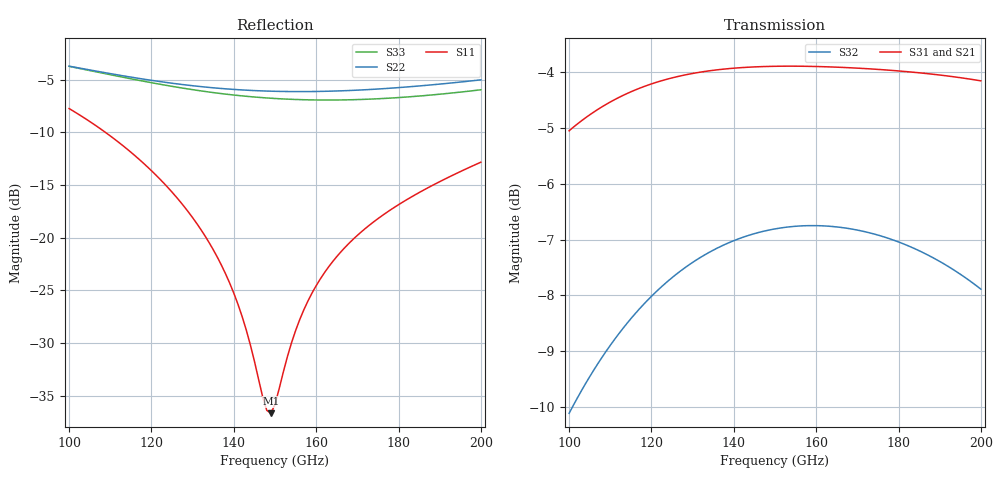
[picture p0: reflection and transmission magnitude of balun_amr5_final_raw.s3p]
#  GHZ S DB R 50.0
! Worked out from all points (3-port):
!   101 points, 100 GHz to 200 GHz, reference 50 ohm
!   strongest paths, dB at 100 GHz, 125 GHz, 150 GHz, 175 GHz, 200 GHz:
!     S31: -5.1, -4.1, -3.9, -4.0, -4.2
!     S21: -4.8, -4.0, -4.0, -4.2, -4.6
!     S32: -10.1, -7.7, -6.8, -6.9, -7.9
!   lowest |S11| = -36.7 dB at 149 GHz (marker M1), VSWR 1.03, Z = 51.3 - j0.72 ohm
!   |S11| at or under -10 dB: 108.8 GHz to end of sweep
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100  -7.74 125.2  -4.84 -11.7  -5.05 164.9
     -4.84 -11.7  -3.71 59.2  -10.11 90.2
     -5.05 164.9  -10.11 90.2  -3.73 50.0
118  -12.91 97.0  -4.16 -39.4  -4.26 135.7
     -4.16 -39.4  -4.94 43.3  -8.17 63.7
     -4.26 135.7  -8.17 63.7  -5.14 31.7
132  -19.22 76.1  -3.97 -59.2  -4.00 114.8
     -3.97 -59.2  -5.65 33.0  -7.31 44.5
     -4.00 114.8  -7.31 44.5  -6.06 20.0
140  -25.27 60.0  -3.95 -69.8  -3.93 103.6
     -3.95 -69.8  -5.92 27.5  -7.02 34.1
     -3.93 103.6  -7.02 34.1  -6.45 13.9
149  -36.67 -28.6  -3.97 -81.4  -3.90 91.3
     -3.97 -81.4  -6.09 21.5  -6.82 22.7
     -3.90 91.3  -6.82 22.7  -6.76 7.4
150  -35.82 -49.1  -3.97 -82.6  -3.90 90.0
     -3.97 -82.6  -6.10 20.8  -6.81 21.5
     -3.90 90.0  -6.81 21.5  -6.78 6.7
156  -27.78 -97.3  -4.00 -90.1  -3.90 82.1
     -4.00 -90.1  -6.13 16.6  -6.76 14.1
     -3.90 82.1  -6.76 14.1  -6.89 2.4
165  -21.79 -114.4  -4.08 -101.1  -3.91 70.4
     -4.08 -101.1  -6.07 10.2  -6.77 3.2
     -3.91 70.4  -6.77 3.2  -6.93 -4.1
178  -17.37 -126.6  -4.22 -116.8  -3.97 53.8
     -4.22 -116.8  -5.81 0.1  -6.99 -12.3
     -3.97 53.8  -6.99 -12.3  -6.74 -14.2
200  -12.83 -142.7  -4.60 -143.6  -4.16 25.5
     -4.60 -143.6  -5.01 -19.5  -7.89 -38.8
     -4.16 25.5  -7.89 -38.8  -5.96 -33.6
